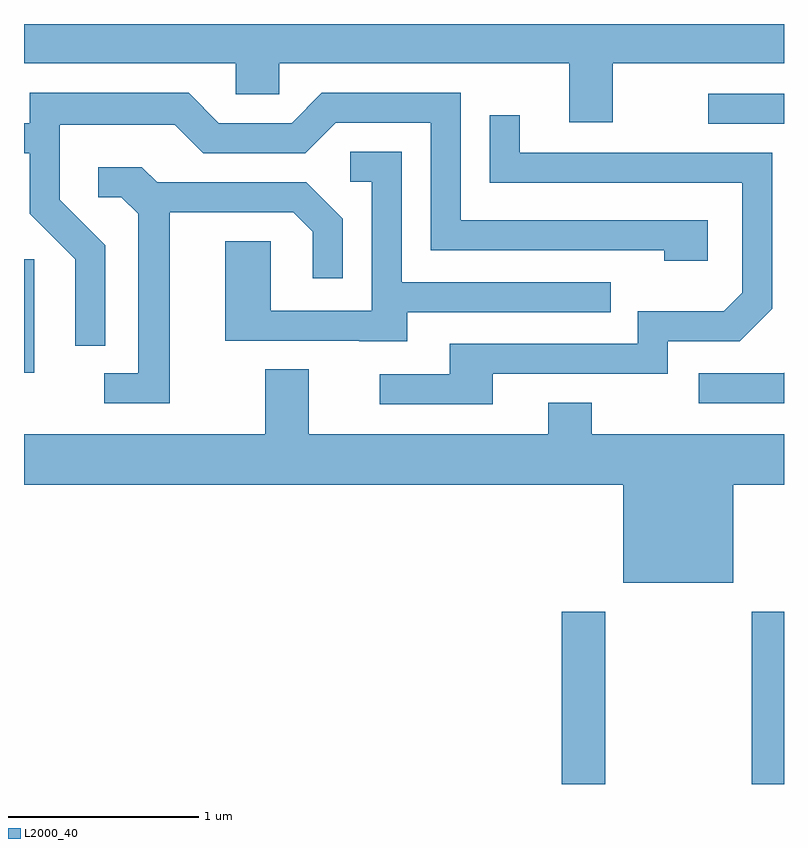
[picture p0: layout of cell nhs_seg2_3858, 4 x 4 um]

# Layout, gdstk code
import gdstk
lib = gdstk.Library(unit=1e-6, precision=1e-09)
def R(c, l, rs):  # rectangles x0, y0, x1, y1
    for r in rs: c.add(gdstk.rectangle(r[:2], r[2:], *l))
def P(c, l, *ps):  # polygons
    for p in ps: c.add(gdstk.Polygon(p, *l))
L2000_40 = (2000, 40)

nhs_seg2_3858 = lib.new_cell('nhs_seg2_3858')
R(nhs_seg2_3858, L2000_40, [(300.441,1097.802,300.669,1098.709), (301.441,1097.802,301.611,1098.709), (297.611,1099.966,297.664,1100.564), (301.213,1101.276,301.611,1101.434)])
P(nhs_seg2_3858, L2000_40, [(300.709,1101.596),(301.611,1101.596),(301.611,1101.802),(297.611,1101.802),(297.611,1101.596),(298.726,1101.596),(298.726,1101.431),(298.954,1101.431),(298.954,1101.596),(300.481,1101.596),(300.481,1101.286),(300.709,1101.286)],
  [(298.039,1100.637),(297.799,1100.877),(297.799,1101.271),(298.404,1101.271),(298.554,1101.121),(299.092,1101.121),(299.252,1101.281),(299.751,1101.281),(299.751,1100.611),(300.981,1100.611),(300.981,1100.556),(301.209,1100.556),(301.209,1100.769),(299.909,1100.769),(299.909,1101.439),(299.179,1101.439),(299.019,1101.279),(298.637,1101.279),(298.477,1101.439),(297.641,1101.439),(297.641,1101.279),(297.611,1101.279),(297.611,1101.121),(297.641,1101.121),(297.641,1100.804),(297.881,1100.564),(297.881,1100.108),(298.039,1100.108)],
  [(300.079,1099.961),(300.999,1099.961),(300.999,1100.131),(301.377,1100.131),(301.549,1100.304),(301.549,1101.124),(300.219,1101.124),(300.219,1101.323),(300.061,1101.323),(300.061,1100.966),(301.391,1100.966),(301.391,1100.387),(301.294,1100.289),(300.841,1100.289),(300.841,1100.119),(299.851,1100.119),(299.851,1099.959),(299.483,1099.959),(299.483,1099.801),(300.079,1099.801)],
  [(299.629,1100.286),(300.698,1100.286),(300.698,1100.444),(299.599,1100.444),(299.599,1101.129),(299.328,1101.129),(299.328,1100.971),(299.441,1100.971),(299.441,1100.294),(298.909,1100.294),(298.909,1100.659),(298.671,1100.659),(298.671,1100.136),(299.375,1100.136),(299.375,1100.131),(299.629,1100.131)],
  [(298.379,1100.811),(299.029,1100.811),(299.131,1100.709),(299.131,1100.463),(299.289,1100.463),(299.289,1100.777),(299.097,1100.969),(298.312,1100.969),(298.232,1101.049),(298.003,1101.049),(298.003,1100.891),(298.124,1100.891),(298.211,1100.804),(298.211,1099.964),(298.033,1099.964),(298.033,1099.806),(298.379,1099.806)],
  [(301.344,1099.376),(301.611,1099.376),(301.611,1099.644),(300.599,1099.644),(300.599,1099.809),(300.371,1099.809),(300.371,1099.644),(299.109,1099.644),(299.109,1099.984),(298.881,1099.984),(298.881,1099.644),(297.611,1099.644),(297.611,1099.376),(300.766,1099.376),(300.766,1098.861),(301.344,1098.861)],
  [(301.611,1099.966),(301.609,1099.964),(301.163,1099.964),(301.163,1099.806),(301.611,1099.806)])

lib.write_gds('nhs_seg2_3858.gds')
